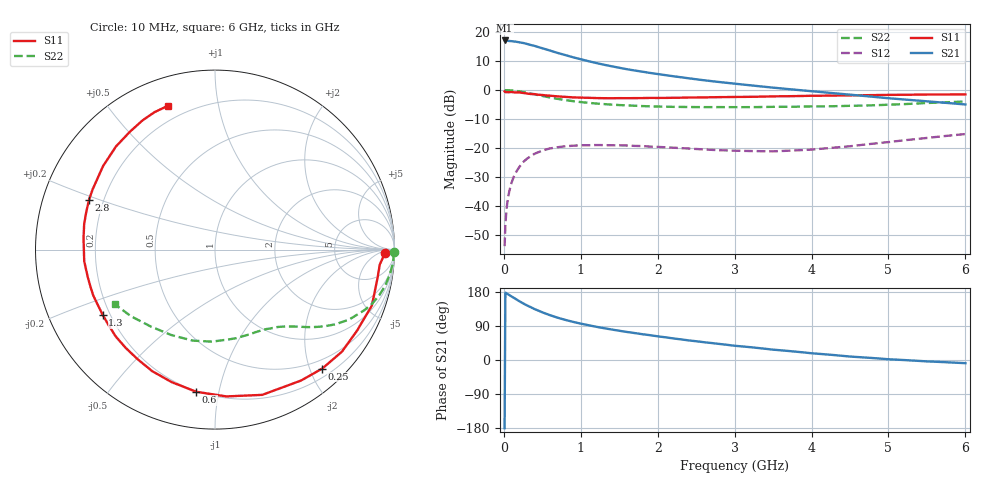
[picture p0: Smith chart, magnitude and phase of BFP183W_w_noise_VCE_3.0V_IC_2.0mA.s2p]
! Infineon Technologies  Discrete & RF Semiconductors
! BFP183W
! VCE =  3.0 V,  IC =  2.0 mA
! Common Emitter S-Parameters:  Jan 2017
# GHz  S  MA  R  50
!  f  S11  S21  S12  S22
! GHz  MAG  ANG  MAG  ANG  MAG  ANG  MAG  ANG
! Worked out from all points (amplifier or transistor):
!   77 points, 10 MHz to 6 GHz, reference 50 ohm
!   highest |S21| = 17.2 dB at 10 MHz (marker M1)
!   |S21| within 3 dB of that: start of sweep to 538.5 MHz
!   unconditionally stable (mu >= 1): 2.815 GHz to 4.946 GHz
!   at 130 MHz: K = 0.04, MSG = 23.4 dB, |S12| = -30.0 dB
!   at 2.2 GHz: K = 0.79, MSG = 12.4 dB, |S12| = -19.9 dB
!   at 6 GHz: K = 0.81, MSG = 5.1 dB, |S12| = -15.2 dB
!   lowest NFmin = 0.76 dB at 450 MHz
!   S11 on the Smith chart (normalised r, x): 10 MHz: 33, -12; 250 MHz: 0.34, -2.20; 600 MHz: 0.20, -0.86; 1.3 GHz: 0.17, -0.26; 2.8 GHz: 0.14, +0.19; 6 GHz: 0.13, +0.71
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0.01  0.9481 -1.1  7.204 -180.0  0.002 89.0  1 -0.9
0.02  0.9217 -5.2  7.111 177.8  0.0046 96.2  0.9952 -1.7
0.03  0.9202 -6.7  7.105 176.6  0.0072 90.6  0.9951 -2.5
0.07  0.9195 -13.7  7.052 171.6  0.0175 82.9  0.9902 -5.6
0.15  0.9112 -29.7  6.88 161.6  0.0365 73.4  0.9694 -12.0
0.25  0.8924 -48.0  6.524 149.5  0.0566 63.1  0.9257 -19.0
0.3  0.8729 -56.7  6.275 144.1  0.065 58.7  0.8979 -22.1
0.4  0.851 -72.0  5.802 134.3  0.0793 50.5  0.8436 -27.5
0.5  0.8204 -85.6  5.283 125.8  0.0898 43.6  0.791 -31.7
0.6  0.7988 -97.6  4.821 118.3  0.098 37.8  0.744 -35.1
0.7  0.7768 -108.1  4.382 111.6  0.1027 32.8  0.7037 -37.8
0.8  0.7623 -117.3  4.024 105.8  0.1069 29.0  0.6704 -40.1
0.9  0.7475 -125.3  3.689 100.6  0.1091 25.5  0.6426 -42.0
1.1  0.735 -138.8  3.158 91.8  0.1114 20.2  0.6015 -45.4
1.3  0.7236 -149.9  2.744 84.0  0.1117 16.0  0.5722 -48.6
1.6  0.724 -163.6  2.292 74.0  0.11 11.8  0.5438 -53.3
2.1  0.7317 178.1  1.812 59.9  0.1025 9.3  0.5155 -62.0
2.8  0.7546 158.6  1.378 42.4  0.0913 11.9  0.5075 -76.4
3.1  0.7615 151.6  1.249 35.8  0.0889 15.9  0.5062 -82.9
4.1  0.7981 132.2  0.929 16.2  0.096 33.4  0.5223 -106.5
5.1  0.8272 118.1  0.705 1.0  0.1306 42.6  0.5642 -132.4
6  0.8426 108.3  0.563 -8.4  0.1736 41.5  0.6357 -151.4
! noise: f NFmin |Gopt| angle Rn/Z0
0.45  0.76  0.48  45  0.22
0.9  0.95  0.41  86  0.19
1.9  1.77  0.52  156  0.09
2.4  2.08  0.55  173  0.09
